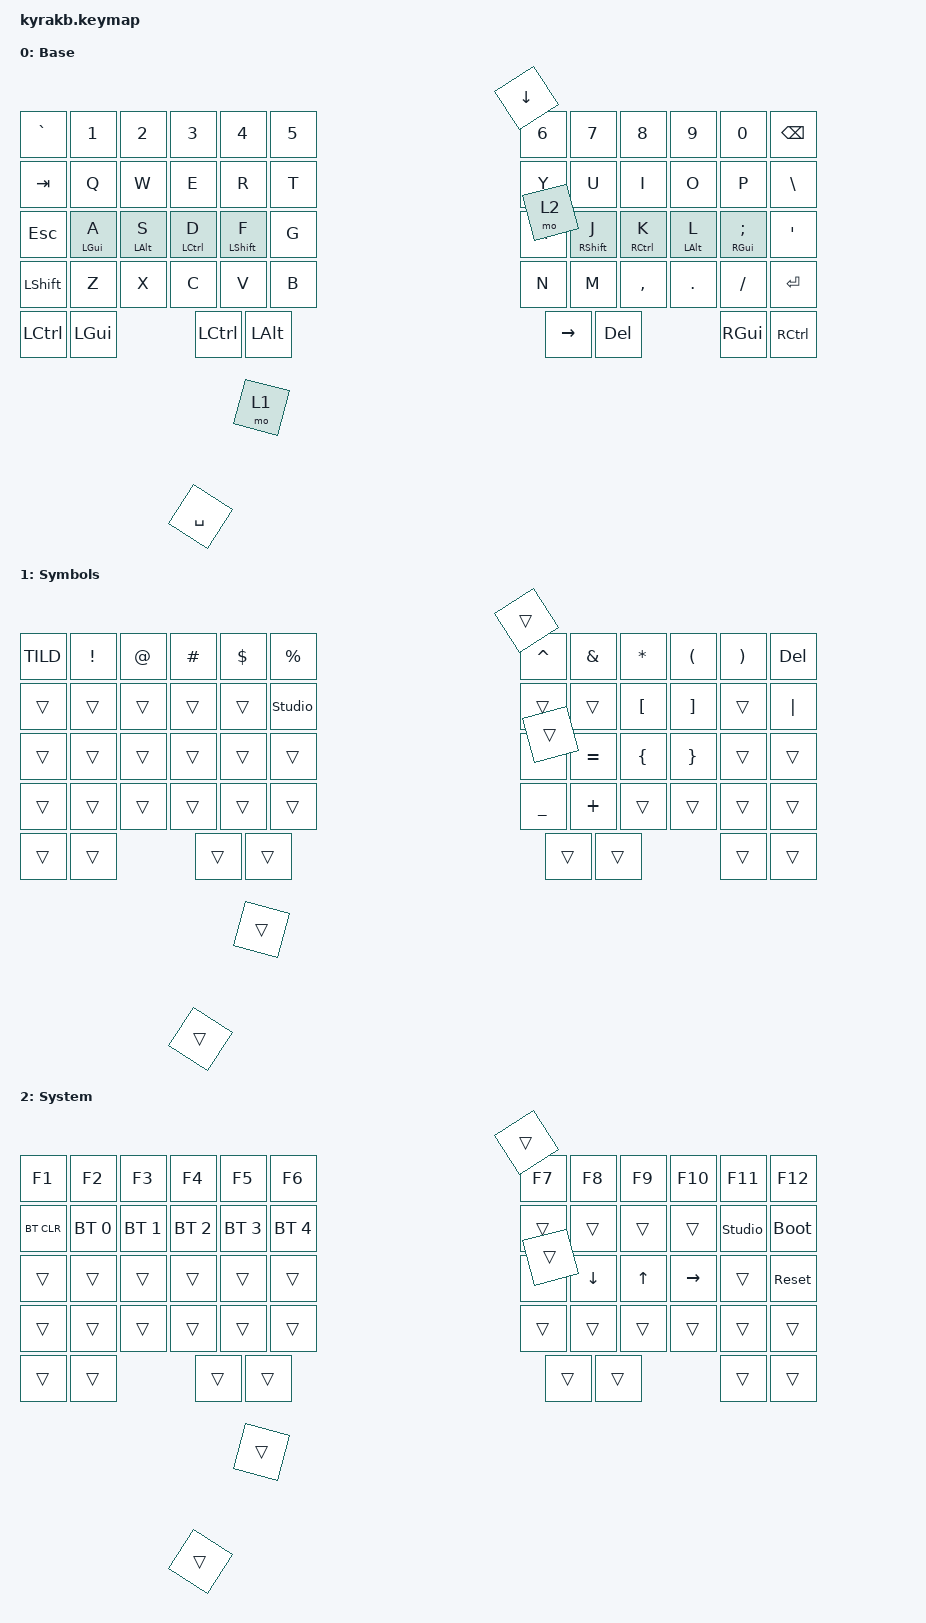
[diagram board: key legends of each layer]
#include <behaviors.dtsi>
#include <dt-bindings/zmk/keys.h>
#include <dt-bindings/zmk/bt.h>

/ {

    combos {
        compatible = "zmk,combos";

        to_default {
            bindings = <&to 0>;
            key-positions = <0 1>;
        };

        tog_game {
            bindings = <&tog 3>;
            key-positions = <0 2>;
        };

        tog_4 {
            bindings = <&tog 4>;
            key-positions = <0 3>;
        };

        undo {
            bindings = <&kp LC(Z)>;
            key-positions = <37 38>;
            layers = <0>;
        };

        cut {
            bindings = <&kp LC(X)>;
            key-positions = <38 39>;
            layers = <0>;
        };

        copy {
            bindings = <&kp LC(C)>;
            key-positions = <39 40>;
            layers = <0>;
        };

        paste {
            bindings = <&kp LC(V)>;
            key-positions = <40 41>;
            layers = <0>;
        };

        lboot {
            bindings = <&bootloader>;
            key-positions = <0 48>;
            layers = <0>;
        };

        rboot {
            bindings = <&bootloader>;
            key-positions = <11 59>;
            layers = <0>;
        };

        caps_word {
            bindings = <&caps_word>;
            key-positions = <53 54>;
            layers = <0>;
        };

        lbkrt {
            bindings = <&kp LEFT_BRACKET>;
            key-positions = <17 29>;
            layers = <0>;
        };

        rbrkt {
            bindings = <&kp RIGHT_BRACKET>;
            key-positions = <18 30>;
            layers = <0>;
        };

        lbrace {
            bindings = <&kp LEFT_BRACE>;
            key-positions = <16 28>;
            layers = <0>;
        };

        rbrace {
            bindings = <&kp RIGHT_BRACE>;
            key-positions = <19 31>;
            layers = <0>;
        };

        lessthan {
            bindings = <&kp LESS_THAN>;
            key-positions = <41 29>;
            layers = <0>;
        };

        greaterthan {
            bindings = <&kp GREATER_THAN>;
            key-positions = <30 42>;
            layers = <0>;
        };

        fslash {
            bindings = <&kp SLASH>;
            key-positions = <42 31>;
            layers = <0>;
        };

        bslash {
            bindings = <&kp BACKSLASH>;
            key-positions = <28 41>;
            layers = <0>;
        };

        underscore {
            bindings = <&kp UNDERSCORE>;
            key-positions = <42 43>;
            layers = <0>;
        };

        pipe {
            bindings = <&kp PIPE>;
            key-positions = <46 34>;
            layers = <0>;
        };

        colon {
            bindings = <&kp COLON>;
            key-positions = <30 54>;
            layers = <0>;
        };

        semicolon {
            bindings = <&kp SEMICOLON>;
            key-positions = <42 54>;
            layers = <0>;
        };

        dash {
            bindings = <&kp MINUS>;
            key-positions = <30 31>;
            layers = <0>;
        };

        equals {
            bindings = <&kp EQUAL>;
            key-positions = <18 19>;
            layers = <0>;
        };

        comma {
            bindings = <&kp COMMA>;
            key-positions = <19 20>;
            layers = <0>;
        };

        dot {
            bindings = <&kp DOT>;
            key-positions = <31 32>;
            layers = <0>;
        };
    };

    behaviors {
        hm: homerow_mods {
            compatible = "zmk,behavior-hold-tap";
            label = "HOMEROW_MODS";
            #binding-cells = <2>;
            tapping-term-ms = <200>;
            quick-tap-ms = <175>;
            flavor = "tap-preferred";
            bindings = <&kp>, <&kp>;
        };
    };

    keymap {
        compatible = "zmk,keymap";

        default_layer {
            label = "Base";
            bindings = <
/* Row 0 */ &kp GRAVE  &kp N1     &kp N2     &kp N3      &kp N4      &kp N5        &kp N6     &kp N7      &kp N8      &kp N9     &kp N0        &kp BSPC
/* Row 1 */ &kp TAB    &kp Q      &kp W      &kp E       &kp R       &kp T         &kp Y      &kp U       &kp I       &kp O      &kp P         &kp BSLH
/* Row 2 */ &kp ESC    &hm LGUI A &hm LALT S &hm LCTRL D &hm LSHFT F &kp G         &kp H      &hm RSHFT J &hm RCTRL K &hm LALT L &hm RGUI SEMI &kp SQT
/* Row 3 */ &kp LSHFT  &kp Z      &kp X      &kp C       &kp V       &kp B         &kp N      &kp M       &kp COMMA   &kp DOT    &kp FSLH      &kp RET
/* Row 4 */ &kp LCTRL  &kp LGUI   &kp LCTRL   &kp LALT   &mo 1       &kp SPACE     &kp DOWN   &mo 2      &kp RIGHT   &kp DEL     &kp RGUI        &kp RCTRL
            >;
        };

        lower_layer {
            label = "Symbols";
            bindings = <
/* Row 0 */ &kp TILD   &kp EXCL   &kp AT     &kp HASH    &kp DLLR    &kp PRCNT     &kp CARET  &kp AMPS    &kp ASTRK   &kp LPAR   &kp RPAR      &kp DEL
/* Row 1 */ &trans     &trans     &trans     &trans      &trans     &studio_unlock &trans     &trans      &kp LBKT    &kp RBKT   &trans        &kp PIPE
/* Row 2 */ &trans     &trans     &trans     &trans      &trans      &trans        &kp MINUS  &kp EQUAL   &kp LBRC    &kp RBRC   &trans        &trans
/* Row 3 */ &trans     &trans     &trans     &trans      &trans      &trans        &kp UNDER  &kp PLUS    &trans      &trans     &trans        &trans
/* Row 4 */ &trans     &trans     &trans     &trans      &trans      &trans        &trans     &trans      &trans      &trans     &trans        &trans
            >;
        };

        raise_layer {
            label = "System";
            bindings = <
/* Row 0 */ &kp F1     &kp F2     &kp F3     &kp F4      &kp F5      &kp F6        &kp F7     &kp F8      &kp F9      &kp F10    &kp F11       &kp F12
/* Row 1 */ &bt BT_CLR &bt BT_SEL 0 &bt BT_SEL 1 &bt BT_SEL 2 &bt BT_SEL 3 &bt BT_SEL 4 &trans &trans   &trans      &trans     &studio_unlock  &bootloader
/* Row 2 */ &trans     &trans     &trans     &trans      &trans      &trans        &kp LEFT   &kp DOWN    &kp UP      &kp RIGHT  &trans        &sys_reset
/* Row 3 */ &trans     &trans     &trans     &trans      &trans      &trans        &trans     &trans      &trans      &trans     &trans        &trans
/* Row 4 */ &trans     &trans     &trans     &trans      &trans      &trans        &trans     &trans      &trans      &trans     &trans        &trans
            >;
        };

        layer_4 { status = "reserved"; };
        layer_5 { status = "reserved"; };
        layer_6 { status = "reserved"; };
        layer_7 { status = "reserved"; };
        layer_8 { status = "reserved"; };
        layer_9 { status = "reserved"; };
        layer_10 { status = "reserved"; };
    };
};
